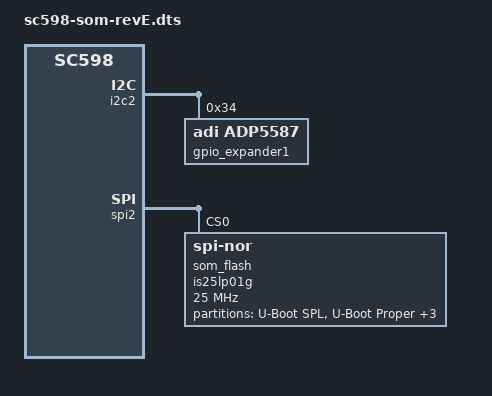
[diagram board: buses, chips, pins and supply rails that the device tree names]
// SPDX-License-Identifier: GPL-2.0
/*
 * Copyright (c) 2025 Analog Devices Incorporated
 * Author: Ozan Durgut <ozan.durgut@analog.com>
 */

/dts-v1/;

#include "sc598-som.dtsi"

&i2c2 {
	gpio_expander1: adp5587@34 {
		compatible = "adi,adp5587";
		reg = <0x34>;
		gpio-controller;
		#gpio-cells = <2>;
		bootph-pre-ram;

		uart0 {
			gpio-hog;
			gpios = <0 GPIO_ACTIVE_LOW>;
			output-high;
			line-name = "uart0-en";
			bootph-pre-ram;
		};

		uart0-flow {
			gpio-hog;
			gpios = <1 GPIO_ACTIVE_LOW>;
			output-low;
			line-name = "uart0-flow-en";
			bootph-pre-ram;
		};

		som-flash-d2d3 {
			gpio-hog;
			gpios = <2 GPIO_ACTIVE_LOW>;
			output-high;
			line-name = "som-flash-d2d3-en";
		};

		som-flash-cs {
			gpio-hog;
			gpios = <3 GPIO_ACTIVE_LOW>;
			output-high;
			line-name = "som-flash-cs-en";
		};

		som-emmc {
			gpio-hog;
			gpios = <8 GPIO_ACTIVE_LOW>;
			output-high;
			line-name = "som-emmc-en";
		};

		crr-sdcard {
			gpio-hog;
			gpios = <9 GPIO_ACTIVE_LOW>;
			output-low;
			line-name = "crr-sdcard-en";
		};

		led-ds3 {
			gpio-hog;
			gpios = <15 GPIO_ACTIVE_LOW>;
			output-high;
			line-name = "led-ds3";
			bootph-pre-ram;
		};

		led-ds2 {
			gpio-hog;
			gpios = <16 GPIO_ACTIVE_LOW>;
			output-high;
			line-name = "led-ds2";
		};

		led-ds1 {
			gpio-hog;
			gpios = <17 GPIO_ACTIVE_LOW>;
			output-high;
			line-name = "led-ds1";
		};
	};
};

&spi2 {
	som_flash: is25lp01g@0 {
		compatible = "jedec,spi-nor", "is25lp01g";
		reg = <0>;
		spi-rx-bus-width = <4>;
		spi-max-frequency = <25000000>;
		bootph-pre-ram;

		partitions {
			compatible = "fixed-partitions";
			#address-cells = <1>;
			#size-cells = <1>;

			qspi_0@0 {
				label = "U-Boot SPL";
				reg = <0x00000000 0x00040000>;
			};

			qspi_1@40000 {
				label = "U-Boot Proper";
				reg = <0x00040000 0x000C0000>;
			};

			qspi_2@100000 {
				label = "U-Boot Environment";
				reg = <0x00100000 0x00020000>;
			};

			qspi_3@120000 {
				label = "FIT Image";
				reg = <0x00120000 0x00F00000>;
			};

			qspi_4@1020000 {
				label = "JFFS2 Formatted RFS";
				reg = <0x01020000 0x06FE0000>;
			};
		};
	};
};
